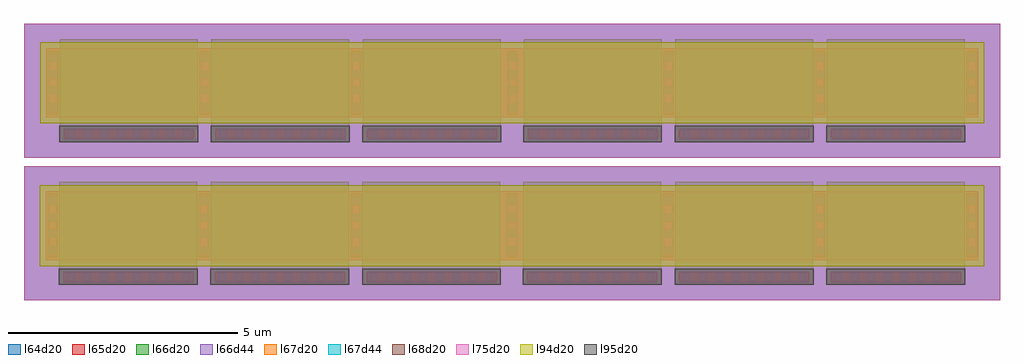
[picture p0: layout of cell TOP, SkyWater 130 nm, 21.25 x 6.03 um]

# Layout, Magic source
magic
tech sky130a
use pfetx241 pfetx241_1
transform 1 0 -364 0 1 -133
box -47 -88 757 204
use pfetx241 pfetx241_2
transform 1 0 -363 0 1 178
box -47 -88 757 204
use pfet pfet_1
transform 1 0 317 0 1 -133
box -47 -88 407 204
use pfet pfet_2
transform 1 0 317 0 1 178
box -47 -88 407 204
use pfet pfet_3
transform 1 0 -694 0 1 -133
box -47 -88 407 204
use pfet pfet_4
transform 1 0 -693 0 1 178
box -47 -88 407 204
use pfet pfet_5
transform 1 0 -1023 0 1 178
box -47 -88 407 204
use pfet pfet_6
transform 1 0 -1024 0 1 -133
box -47 -88 407 204
use pfet pfet_7
transform 1 0 647 0 1 -133
box -47 -88 407 204
use pfet pfet_8
transform 1 0 647 0 1 178
box -47 -88 407 204
<< end >>

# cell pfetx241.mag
magic
tech sky130a
<< l65d20 >>
rect 0 0 710 150
<< l66d44 >>
rect 7 13 24 30
rect 687 13 704 30
rect 7 49 24 66
rect 687 49 704 66
rect 7 85 24 102
rect 687 85 704 102
rect 7 121 24 138
rect 687 121 704 138
rect 347 13 364 30
rect 347 49 364 66
rect 347 85 364 102
rect 347 121 364 138
rect 46 -45 63 -28
rect 396 -45 413 -28
rect 82 -45 99 -28
rect 432 -45 449 -28
rect 118 -45 135 -28
rect 468 -45 485 -28
rect 154 -45 171 -28
rect 504 -45 521 -28
rect 190 -45 207 -28
rect 540 -45 557 -28
rect 226 -45 243 -28
rect 576 -45 593 -28
rect 262 -45 279 -28
rect 612 -45 629 -28
rect 298 -45 315 -28
rect 648 -45 665 -28
<< l67d20 >>
rect 7 5 24 146
rect 687 5 704 146
rect 347 5 364 146
rect 38 -45 323 -28
rect 388 -45 673 -28
<< l67d44 >>
rect 7 13 24 30
rect 687 13 704 30
rect 7 49 24 66
rect 687 49 704 66
rect 7 85 24 102
rect 687 85 704 102
rect 7 121 24 138
rect 687 121 704 138
rect 347 13 364 30
rect 347 49 364 66
rect 347 85 364 102
rect 347 121 364 138
rect 46 -45 63 -28
rect 396 -45 413 -28
rect 82 -45 99 -28
rect 432 -45 449 -28
rect 118 -45 135 -28
rect 468 -45 485 -28
rect 154 -45 171 -28
rect 504 -45 521 -28
rect 190 -45 207 -28
rect 540 -45 557 -28
rect 226 -45 243 -28
rect 576 -45 593 -28
rect 262 -45 279 -28
rect 612 -45 629 -28
rect 298 -45 315 -28
rect 648 -45 665 -28
<< l68d20 >>
rect 4 7 27 144
rect 684 7 707 144
rect 344 7 367 144
rect 40 -48 321 -25
rect 390 -48 671 -25
<< l66d20 >>
rect 30 -53 330 -20
rect 380 -53 680 -20
rect 30 -20 330 170
rect 380 -20 680 170
<< l95d20 >>
rect 29 -54 331 -19
rect 379 -54 681 -19
<< l94d20 >>
rect -13 -13 723 163
<< l64d20 >>
rect -47 -88 757 204
<< l75d20 >>
rect -47 -88 757 204
<< end >>

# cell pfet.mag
magic
tech sky130a
<< l65d20 >>
rect 0 0 360 150
<< l66d44 >>
rect 337 13 354 30
rect 337 49 354 66
rect 337 85 354 102
rect 337 121 354 138
rect 46 -45 63 -28
rect 82 -45 99 -28
rect 118 -45 135 -28
rect 154 -45 171 -28
rect 190 -45 207 -28
rect 226 -45 243 -28
rect 262 -45 279 -28
rect 298 -45 315 -28
rect 7 13 24 30
rect 7 49 24 66
rect 7 85 24 102
rect 7 121 24 138
<< l67d20 >>
rect 337 5 354 146
rect 38 -45 323 -28
rect 7 5 24 146
<< l67d44 >>
rect 337 13 354 30
rect 337 49 354 66
rect 337 85 354 102
rect 337 121 354 138
rect 46 -45 63 -28
rect 82 -45 99 -28
rect 118 -45 135 -28
rect 154 -45 171 -28
rect 190 -45 207 -28
rect 226 -45 243 -28
rect 262 -45 279 -28
rect 298 -45 315 -28
rect 7 13 24 30
rect 7 49 24 66
rect 7 85 24 102
rect 7 121 24 138
<< l68d20 >>
rect 334 7 357 144
rect 40 -48 321 -25
rect 4 7 27 144
<< l66d20 >>
rect 30 -53 330 -20
rect 30 -20 330 170
<< l95d20 >>
rect 29 -54 331 -19
<< l94d20 >>
rect -13 -13 373 163
<< l64d20 >>
rect -47 -88 407 204
<< l75d20 >>
rect -47 -88 407 204
<< end >>
